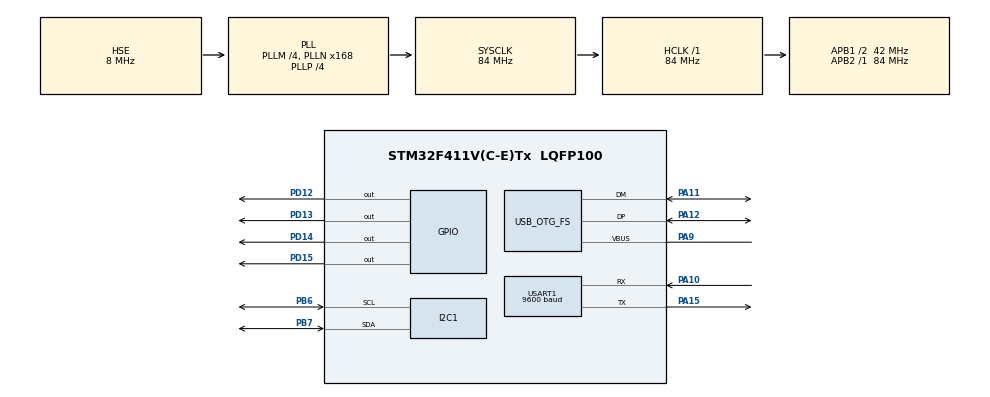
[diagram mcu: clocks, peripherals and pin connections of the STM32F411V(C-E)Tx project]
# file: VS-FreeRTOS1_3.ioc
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I2C1.DutyCycle=I2C_DUTYCYCLE_16_9
I2C1.I2C_Mode=I2C_Fast
Mcu.Family=STM32F4
Mcu.Name=STM32F411V(C-E)Tx
Mcu.Package=LQFP100
NVIC.OTG_FS_IRQn=true\:0\:0\:false\:false\:true\:false\:true\:true
NVIC.PriorityGroup=NVIC_PRIORITYGROUP_4
NVIC.TIM5_IRQn=true\:15\:0\:false\:false\:true\:false\:true\:true
NVIC.TimeBase=TIM5_IRQn
NVIC.TimeBaseIP=TIM5
PA10.GPIO_PuPd=GPIO_PULLUP
PA10.Mode=Asynchronous
PA10.Signal=USART1_RX
PA11.Mode=Device_Only
PA11.Signal=USB_OTG_FS_DM
PA12.Mode=Device_Only
PA12.Signal=USB_OTG_FS_DP
PA15.GPIO_PuPd=GPIO_PULLUP
PA15.Mode=Asynchronous
PA15.Signal=USART1_TX
PA9.Mode=Activate_VBUS
PA9.Signal=USB_OTG_FS_VBUS
PB6.GPIO_Pu=GPIO_PULLUP
PB6.Mode=I2C
PB6.Signal=I2C1_SCL
PB7.GPIO_Pu=GPIO_PULLUP
PB7.Mode=I2C
PB7.Signal=I2C1_SDA
PC14-OSC32_IN.Mode=LSE-External-Oscillator
PC14-OSC32_IN.Signal=RCC_OSC32_IN
PC15-OSC32_OUT.Mode=LSE-External-Oscillator
PC15-OSC32_OUT.Signal=RCC_OSC32_OUT
PD12.Signal=GPIO_Output
PD13.Signal=GPIO_Output
PD14.Signal=GPIO_Output
PD15.Signal=GPIO_Output
PH0\ -\ OSC_IN.Mode=HSE-External-Oscillator
PH0\ -\ OSC_IN.Signal=RCC_OSC_IN
PH1\ -\ OSC_OUT.Mode=HSE-External-Oscillator
PH1\ -\ OSC_OUT.Signal=RCC_OSC_OUT
ProjectManager.HeapSize=0x200
ProjectManager.StackSize=0x400
ProjectManager.TargetToolchain=STM32CubeIDE
RCC.48MHZClocksFreq_Value=48000000
RCC.AHBFreq_Value=84000000
RCC.APB1CLKDivider=RCC_HCLK_DIV2
RCC.APB1Freq_Value=42000000
RCC.APB1TimFreq_Value=84000000
RCC.APB2Freq_Value=84000000
RCC.APB2TimFreq_Value=84000000
RCC.CortexFreq_Value=84000000
RCC.HCLKFreq_Value=84000000
RCC.HSE_VALUE=8000000
RCC.HSI_VALUE=16000000
RCC.PLLM=4
RCC.PLLN=168
RCC.PLLP=RCC_PLLP_DIV4
RCC.PLLQ=7
RCC.SYSCLKFreq_VALUE=84000000
RCC.SYSCLKSource=RCC_SYSCLKSOURCE_PLLCLK
RCC.VCOOutputFreq_Value=336000000
TIM3.Period=9999
TIM3.Prescaler=8399
TIM4.Period=29999
TIM4.Prescaler=8399
USART1.BaudRate=9600
USART1.VirtualMode=VM_ASYNC
USB_DEVICE.CLASS_NAME_FS=CDC
USB_DEVICE.PRODUCT_STRING_CDC_FS=TSR-Device
USB_DEVICE.VirtualMode=Cdc
USB_DEVICE.VirtualModeFS=Cdc_FS
USB_OTG_FS.VirtualMode=Device_Only
VP_SYS_VS_tim5.Mode=TIM5
VP_TIM3_VS_ClockSourceINT.Mode=Internal
VP_TIM4_VS_ClockSourceINT.Mode=Internal
VP_USB_DEVICE_VS_USB_DEVICE_CDC_FS.Mode=CDC_FS
board=custom

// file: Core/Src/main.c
/* USER CODE BEGIN Header */
/**
  ******************************************************************************
  * @file           : main.c
  * @brief          : Main program body
  ******************************************************************************
  * @attention
  *
  * Copyright (c) 2025 STMicroelectronics.
  * All rights reserved.
  *
  * This software is licensed under terms that can be found in the LICENSE file
  * in the root directory of this software component.
  * If no LICENSE file comes with this software, it is provided AS-IS.
  *
  ******************************************************************************
  */
/* USER CODE END Header */
#include "main.h"
#include "usb_device.h"

/* USER CODE BEGIN Includes */
#include "FreeRTOS.h"
#include "task.h"
#include "usbd_cdc_if.h"
#include <stdbool.h>
#include <semphr.h>
#include "lcd.h"
#include "queue.h"
/* USER CODE END Includes */

I2C_HandleTypeDef hi2c1;

TIM_HandleTypeDef htim3;
TIM_HandleTypeDef htim4;

UART_HandleTypeDef huart1;

void SystemClock_Config(void);
static void MX_GPIO_Init(void);
static void MX_TIM3_Init(void);
static void MX_TIM4_Init(void);
static void MX_I2C1_Init(void);
static void MX_USART1_UART_Init(void);
/* USER CODE BEGIN PFP */
void Task_ReceiveData(void *pvParameters);
void Task_SetLCD(void *pvParameters);
void Task_SendData(void *pvParameters);
void Task_ReadGPS(void *pvParameters);

TaskHandle_t TaskSetLcdHandle;
#define PACKET_SIZE 32
/* USER CODE END PFP */

/* USER CODE BEGIN 0 */

QueueHandle_t usbRxQueue;  // Queue to pass the received data
uint8_t USB_RX_Buffer[PACKET_SIZE]; // Buffer to store a complete packet

typedef struct {
	bool new_data;
	uint8_t size;
	uint8_t data[100];
} SendPacket;

typedef struct {
	char lcd[32];
} RecivePacket;

SendPacket sendData;
SemaphoreHandle_t sendMutex;

RecivePacket reciveData;
SemaphoreHandle_t reciveMutex;

void Task_ReceiveData(void *pvParameters){
	uint8_t data[PACKET_SIZE];
    while (1){
    	if (xQueueReceiveFromISR(usbRxQueue, data, portMAX_DELAY) == pdPASS) {
			memcpy(&reciveData.lcd, &data, PACKET_SIZE);
			vTaskNotifyGiveFromISR(TaskSetLcdHandle, pdTRUE);
			portYIELD_FROM_ISR(pdTRUE);
		}
        HAL_GPIO_TogglePin(GPIOD, GPIO_PIN_12);
    }
}

void Task_SetLCD(void *pvParameters){
	lcd_init(hi2c1);
	char lcd[32] = "     T.S.R.      External Device";
	lcd_put_cur(hi2c1, 0, 0);
	lcd_send_string(hi2c1, &lcd);
	lcd_put_cur(hi2c1, 1, 0);
	lcd_send_string(hi2c1, &lcd[16]);
	while (1){
		ulTaskNotifyTake(pdTRUE, portMAX_DELAY);
		if (memcmp(&reciveData.lcd, &lcd, 32) != 0) {
			memcpy(&lcd,&reciveData.lcd, 32);
			lcd_put_cur(hi2c1, 0, 0);
			lcd_send_string(hi2c1, &lcd);
			lcd_put_cur(hi2c1, 1, 0);
			lcd_send_string(hi2c1, &lcd[16]);
		}

    	HAL_GPIO_TogglePin(GPIOD, GPIO_PIN_15);
        vTaskDelay(pdMS_TO_TICKS(500));
    }
}

void Task_SendData(void *pvParameters){
	SendPacket data;
	while (1){
		if (xSemaphoreTake(sendMutex, portMAX_DELAY) == pdTRUE) {
			if (sendData.new_data) {
				memcpy(&data, &sendData, sizeof(SendPacket));
				sendData.new_data = false;
			} else data.new_data = false;
			xSemaphoreGive(sendMutex);
		}
		while(data.new_data && CDC_Transmit_FS((uint8_t*)&data.data, sizeof(data.data)));
    	HAL_GPIO_TogglePin(GPIOD, GPIO_PIN_14);
    	vTaskDelay(pdMS_TO_TICKS(1));
    }
}

void Task_ReadGPS(void *pvParameters){
	while (1) {
		uint8_t data[100] = {0};
		HAL_StatusTypeDef status;
		uint8_t c;
		uint32_t index = 0;
		int GPS_TIMEOUT = 1000;

		do {
			status = HAL_UART_Receive(&huart1, &c, 1, GPS_TIMEOUT);
		} while (c != '$');

		data[index++] = c;

		while (index < 100) {
			status = HAL_UART_Receive(&huart1, &c, 1, GPS_TIMEOUT);
			if(status == HAL_OK) data[index++] = c;
			if (c == '*') {
				int i = 0;
				while(i < 2) {
					status = HAL_UART_Receive(&huart1, &c, 1, GPS_TIMEOUT);
						if(status == HAL_OK) {
					data[index++] = c;
					i++;
					}
				}
			break;
			}
		}
		if (xSemaphoreTake(sendMutex, portMAX_DELAY) == pdTRUE) {
			if (memcmp(&sendData.data, &data, 100) != 0) {
				memcpy(&sendData.data,&data, 100);
				sendData.size = index+1;
				sendData.new_data = true;
			}
			xSemaphoreGive(sendMutex);
		}
	HAL_GPIO_TogglePin(GPIOD, GPIO_PIN_13);
  }
}
/* USER CODE END 0 */

int main(void)
{

  /* MCU Configuration--------------------------------------------------------*/

  /* Reset of all peripherals, Initializes the Flash interface and the Systick. */
  HAL_Init();

  /* Configure the system clock */
  SystemClock_Config();

  /* Initialize all configured peripherals */
  MX_GPIO_Init();
  MX_TIM3_Init();
  MX_TIM4_Init();
  MX_USB_DEVICE_Init();
  MX_I2C1_Init();
  MX_USART1_UART_Init();
  /* USER CODE BEGIN 2 */

  	__HAL_I2C_ENABLE(&hi2c1);
	sendMutex = xSemaphoreCreateMutex();
	if (sendMutex == NULL) {
		printf("Failed to create mutex!\n");
		return 1;
	}
	reciveMutex = xSemaphoreCreateMutex();
	if (reciveMutex == NULL) {
		printf("Failed to create mutex!\n");
		return 1;
	}
	usbRxQueue = xQueueCreate(10, sizeof(USB_RX_Buffer));
	if (usbRxQueue == NULL) {
		printf("Failed to create queue!\n");
		return 1;
	}

	xTaskCreate(Task_ReceiveData, "ReceiveData", configMINIMAL_STACK_SIZE, NULL, 1, NULL);
	xTaskCreate(Task_SetLCD, "SetLCD", configMINIMAL_STACK_SIZE, NULL, 1, &TaskSetLcdHandle);
	xTaskCreate(Task_SendData, "SendData", configMINIMAL_STACK_SIZE, NULL, 1, NULL);
	xTaskCreate(Task_ReadGPS, "ReadGPS", configMINIMAL_STACK_SIZE, NULL, 1, NULL);

	vTaskStartScheduler();
  /* USER CODE END 2 */

  /* Infinite loop */
  while (1)
  {

  }
}

void SystemClock_Config(void)
{
  RCC_OscInitTypeDef RCC_OscInitStruct = {0};
  RCC_ClkInitTypeDef RCC_ClkInitStruct = {0};

  /** Configure the main internal regulator output voltage
  */
  __HAL_RCC_PWR_CLK_ENABLE();
  __HAL_PWR_VOLTAGESCALING_CONFIG(PWR_REGULATOR_VOLTAGE_SCALE1);

  /** Initializes the RCC Oscillators according to the specified parameters
  * in the RCC_OscInitTypeDef structure.
  */
  RCC_OscInitStruct.OscillatorType = RCC_OSCILLATORTYPE_HSE;
  RCC_OscInitStruct.HSEState = RCC_HSE_ON;
  RCC_OscInitStruct.PLL.PLLState = RCC_PLL_ON;
  RCC_OscInitStruct.PLL.PLLSource = RCC_PLLSOURCE_HSE;
  RCC_OscInitStruct.PLL.PLLM = 4;
  RCC_OscInitStruct.PLL.PLLN = 168;
  RCC_OscInitStruct.PLL.PLLP = RCC_PLLP_DIV4;
  RCC_OscInitStruct.PLL.PLLQ = 7;
  if (HAL_RCC_OscConfig(&RCC_OscInitStruct) != HAL_OK)
  {
    Error_Handler();
  }

  /** Initializes the CPU, AHB and APB buses clocks
  */
  RCC_ClkInitStruct.ClockType = RCC_CLOCKTYPE_HCLK|RCC_CLOCKTYPE_SYSCLK
                              |RCC_CLOCKTYPE_PCLK1|RCC_CLOCKTYPE_PCLK2;
  RCC_ClkInitStruct.SYSCLKSource = RCC_SYSCLKSOURCE_PLLCLK;
  RCC_ClkInitStruct.AHBCLKDivider = RCC_SYSCLK_DIV1;
  RCC_ClkInitStruct.APB1CLKDivider = RCC_HCLK_DIV2;
  RCC_ClkInitStruct.APB2CLKDivider = RCC_HCLK_DIV1;

  if (HAL_RCC_ClockConfig(&RCC_ClkInitStruct, FLASH_LATENCY_2) != HAL_OK)
  {
    Error_Handler();
  }
}

static void MX_I2C1_Init(void)
{

  hi2c1.Instance = I2C1;
  hi2c1.Init.ClockSpeed = 400000;
  hi2c1.Init.DutyCycle = I2C_DUTYCYCLE_16_9;
  hi2c1.Init.OwnAddress1 = 0;
  hi2c1.Init.AddressingMode = I2C_ADDRESSINGMODE_7BIT;
  hi2c1.Init.DualAddressMode = I2C_DUALADDRESS_DISABLE;
  hi2c1.Init.OwnAddress2 = 0;
  hi2c1.Init.GeneralCallMode = I2C_GENERALCALL_DISABLE;
  hi2c1.Init.NoStretchMode = I2C_NOSTRETCH_DISABLE;
  if (HAL_I2C_Init(&hi2c1) != HAL_OK)
  {
    Error_Handler();
  }

}

static void MX_TIM3_Init(void)
{

  TIM_ClockConfigTypeDef sClockSourceConfig = {0};
  TIM_MasterConfigTypeDef sMasterConfig = {0};

  htim3.Instance = TIM3;
  htim3.Init.Prescaler = 8399;
  htim3.Init.CounterMode = TIM_COUNTERMODE_UP;
  htim3.Init.Period = 9999;
  htim3.Init.ClockDivision = TIM_CLOCKDIVISION_DIV1;
  htim3.Init.AutoReloadPreload = TIM_AUTORELOAD_PRELOAD_DISABLE;
  if (HAL_TIM_Base_Init(&htim3) != HAL_OK)
  {
    Error_Handler();
  }
  sClockSourceConfig.ClockSource = TIM_CLOCKSOURCE_INTERNAL;
  if (HAL_TIM_ConfigClockSource(&htim3, &sClockSourceConfig) != HAL_OK)
  {
    Error_Handler();
  }
  sMasterConfig.MasterOutputTrigger = TIM_TRGO_RESET;
  sMasterConfig.MasterSlaveMode = TIM_MASTERSLAVEMODE_DISABLE;
  if (HAL_TIMEx_MasterConfigSynchronization(&htim3, &sMasterConfig) != HAL_OK)
  {
    Error_Handler();
  }

}

static void MX_TIM4_Init(void)
{

  TIM_ClockConfigTypeDef sClockSourceConfig = {0};
  TIM_MasterConfigTypeDef sMasterConfig = {0};

  htim4.Instance = TIM4;
  htim4.Init.Prescaler = 8399;
  htim4.Init.CounterMode = TIM_COUNTERMODE_UP;
  htim4.Init.Period = 29999;
  htim4.Init.ClockDivision = TIM_CLOCKDIVISION_DIV1;
  htim4.Init.AutoReloadPreload = TIM_AUTORELOAD_PRELOAD_DISABLE;
  if (HAL_TIM_Base_Init(&htim4) != HAL_OK)
  {
    Error_Handler();
  }
  sClockSourceConfig.ClockSource = TIM_CLOCKSOURCE_INTERNAL;
  if (HAL_TIM_ConfigClockSource(&htim4, &sClockSourceConfig) != HAL_OK)
  {
    Error_Handler();
  }
  sMasterConfig.MasterOutputTrigger = TIM_TRGO_RESET;
  sMasterConfig.MasterSlaveMode = TIM_MASTERSLAVEMODE_DISABLE;
  if (HAL_TIMEx_MasterConfigSynchronization(&htim4, &sMasterConfig) != HAL_OK)
  {
    Error_Handler();
  }

}

static void MX_USART1_UART_Init(void)
{

  huart1.Instance = USART1;
  huart1.Init.BaudRate = 9600;
  huart1.Init.WordLength = UART_WORDLENGTH_8B;
  huart1.Init.StopBits = UART_STOPBITS_1;
  huart1.Init.Parity = UART_PARITY_NONE;
  huart1.Init.Mode = UART_MODE_TX_RX;
  huart1.Init.HwFlowCtl = UART_HWCONTROL_NONE;
  huart1.Init.OverSampling = UART_OVERSAMPLING_16;
  if (HAL_UART_Init(&huart1) != HAL_OK)
  {
    Error_Handler();
  }

}

static void MX_GPIO_Init(void)
{
  GPIO_InitTypeDef GPIO_InitStruct = {0};

  /* GPIO Ports Clock Enable */
  __HAL_RCC_GPIOC_CLK_ENABLE();
  __HAL_RCC_GPIOH_CLK_ENABLE();
  __HAL_RCC_GPIOD_CLK_ENABLE();
  __HAL_RCC_GPIOA_CLK_ENABLE();
  __HAL_RCC_GPIOB_CLK_ENABLE();

  /*Configure GPIO pin Output Level */
  HAL_GPIO_WritePin(GPIOD, GPIO_PIN_12|GPIO_PIN_13|GPIO_PIN_14|GPIO_PIN_15, GPIO_PIN_RESET);

  /*Configure GPIO pins : PD12 PD13 PD14 PD15 */
  GPIO_InitStruct.Pin = GPIO_PIN_12|GPIO_PIN_13|GPIO_PIN_14|GPIO_PIN_15;
  GPIO_InitStruct.Mode = GPIO_MODE_OUTPUT_PP;
  GPIO_InitStruct.Pull = GPIO_NOPULL;
  GPIO_InitStruct.Speed = GPIO_SPEED_FREQ_LOW;
  HAL_GPIO_Init(GPIOD, &GPIO_InitStruct);

}

void HAL_TIM_PeriodElapsedCallback(TIM_HandleTypeDef *htim)
{
  if (htim->Instance == TIM5) {
    HAL_IncTick();
  }
}

void Error_Handler(void)
{
  __disable_irq();
  while (1)
  {
  }
}
